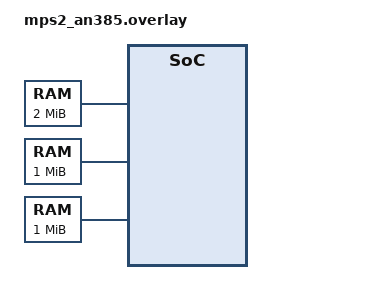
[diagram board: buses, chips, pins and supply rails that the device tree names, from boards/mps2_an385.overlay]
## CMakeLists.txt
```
# SPDX-License-Identifier: Apache-2.0

cmake_minimum_required(VERSION 3.20.0)

find_package(Zephyr REQUIRED HINTS $ENV{ZEPHYR_BASE})
project(sram_mpu)

target_sources(app PRIVATE src/main.c src/arm_mpu_regions.c)
```

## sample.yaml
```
sample:
  description: SRAM MPU sample application
  name: sram_mpu
tests:
  sample.memory.sram_regions:
    platform_allow: mps2_an385
    tags: sample board sram mpu
    build_only: true
```

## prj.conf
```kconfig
CONFIG_CPU_HAS_CUSTOM_FIXED_SOC_MPU_REGIONS=y
CONFIG_HAVE_CUSTOM_LINKER_SCRIPT=y
CONFIG_CUSTOM_LINKER_SCRIPT="linker_sram_regions.ld"
```

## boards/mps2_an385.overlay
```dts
/*
 * Copyright (c) 2021 Carlo Caione <ccaione@baylibre.com>
 *
 * SPDX-License-Identifier: Apache-2.0
 */

#include "dt_mpu_attr.h"

/ {
	/delete-node/ memory@20000000;

	chosen {
		zephyr,sram-no-cache = &sram_no_cache;
	};

	sram0: memory@20000000 {
		compatible = "mmio-sram";
		reg = <0x20000000 0x200000>;
	};

	sram_attr_0: memory@20200000 {
		compatible = "mmio-sram";
		reg = <0x20200000 0x100000>;
		mpu-attr = <DT_SRAM_ATTR(DT_1MB)>;
		label = "region0";
	};

	sram_no_cache: memory@20300000 {
		compatible = "mmio-sram";
		reg = <0x20300000 0x100000>;
		mpu-attr = <DT_SRAM_NOCACHE_ATTR(DT_1MB)>;
		label = "region1";
	};
};
```

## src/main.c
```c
/*
 * Copyright (c) 2021 Carlo Caione <ccaione@baylibre.com>
 *
 * SPDX-License-Identifier: Apache-2.0
 */

#include <zephyr.h>
#include <linker/linker-defs.h>
#include <linker/devicetree_sram.h>

uint32_t var_in_region0 __attribute((__section__("region0"))) = 0xaabbccdd;
uint32_t var_in_region1 __attribute((__section__("region1"))) = 0xddccbbaa;

uint32_t buf_in_nocache[0xA] __nocache_sram;

void main(void)
{
	printk("Address of var_in_region0: %p\n", &var_in_region0);
	printk("Address of var_in_region1: %p\n", &var_in_region1);

	printk("Address of buf_in_nocache: %p\n", buf_in_nocache);
}
```

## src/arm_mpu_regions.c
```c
/*
 * Copyright (c) 2021 Carlo Caione <ccaione@baylibre.com>
 *
 * SPDX-License-Identifier: Apache-2.0
 */

#include <sys/slist.h>
#include <arch/arm/aarch32/mpu/arm_mpu.h>
#include <linker/devicetree_sram.h>

#define BUILD_MPU_REGION(p_name, p_base, p_size, p_attr)	\
	{ .name = p_name,					\
	  .base = p_base,					\
	  .attr.rasr = p_attr,					\
	},

static const struct arm_mpu_region mpu_regions[] = {
	/* FLASH */
	MPU_REGION_ENTRY("FLASH_0",
			 CONFIG_FLASH_BASE_ADDRESS,
			 REGION_FLASH_ATTR(REGION_4M)),

	/* SRAM0 */
	MPU_REGION_ENTRY("SRAM_0",
			 CONFIG_SRAM_BASE_ADDRESS,
			 REGION_RAM_ATTR(REGION_2M)),

	/* Generated SRAM regions */
	DT_SRAM_INST_FOREACH(BUILD_MPU_REGION)
};

const struct arm_mpu_config mpu_config = {
	.num_regions = ARRAY_SIZE(mpu_regions),
	.mpu_regions = mpu_regions,
};
```
